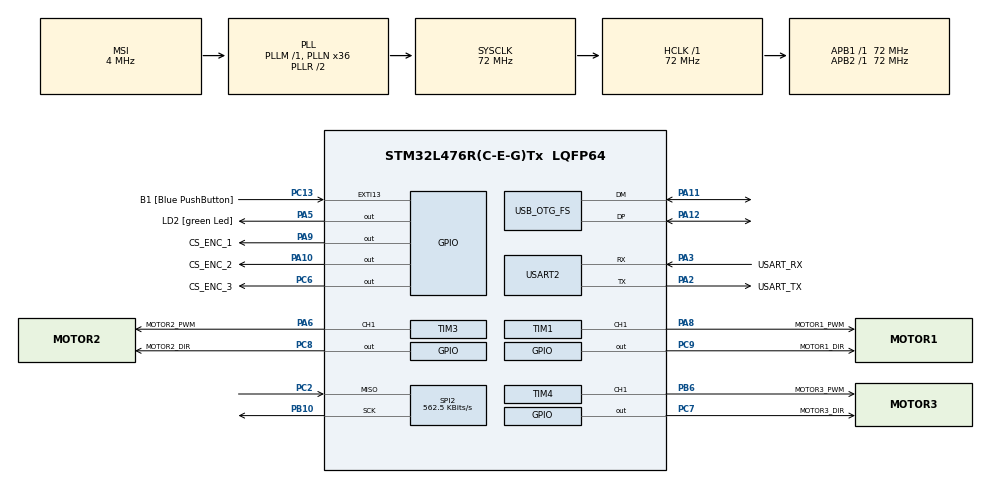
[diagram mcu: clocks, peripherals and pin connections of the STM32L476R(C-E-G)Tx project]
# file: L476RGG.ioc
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Mcu.Family=STM32L4
Mcu.Name=STM32L476R(C-E-G)Tx
Mcu.Package=LQFP64
NVIC.OTG_FS_IRQn=true\:0\:0\:false\:false\:true\:false\:true\:true
NVIC.PriorityGroup=NVIC_PRIORITYGROUP_4
NVIC.SPI2_IRQn=true\:0\:0\:false\:false\:true\:true\:true\:true
NVIC.TIM1_BRK_TIM15_IRQn=true\:0\:0\:false\:false\:true\:true\:true\:true
NVIC.TIM1_CC_IRQn=true\:0\:0\:false\:false\:true\:true\:true\:true
NVIC.TIM1_TRG_COM_TIM17_IRQn=true\:0\:0\:false\:false\:true\:true\:true\:true
NVIC.TIM1_UP_TIM16_IRQn=true\:0\:0\:false\:false\:true\:true\:true\:true
NVIC.USART2_IRQn=true\:0\:0\:false\:false\:true\:true\:true\:true
PA10.GPIO_Label=CS_ENC_2
PA10.Signal=GPIO_Output
PA11.Mode=Device_Only
PA11.Signal=USB_OTG_FS_DM
PA12.Mode=Device_Only
PA12.Signal=USB_OTG_FS_DP
PA13\ (JTMS-SWDIO).GPIO_Label=TMS
PA13\ (JTMS-SWDIO).Mode=Serial_Wire
PA13\ (JTMS-SWDIO).Signal=SYS_JTMS-SWDIO
PA14\ (JTCK-SWCLK).GPIO_Label=TCK
PA14\ (JTCK-SWCLK).Mode=Serial_Wire
PA14\ (JTCK-SWCLK).Signal=SYS_JTCK-SWCLK
PA2.GPIO_Label=USART_TX
PA2.GPIO_Mode=GPIO_MODE_AF_PP
PA2.GPIO_PuPd=GPIO_NOPULL
PA2.GPIO_Speed=GPIO_SPEED_FREQ_VERY_HIGH
PA2.Mode=Asynchronous
PA2.Signal=USART2_TX
PA3.GPIO_Label=USART_RX
PA3.GPIO_Mode=GPIO_MODE_AF_PP
PA3.GPIO_PuPd=GPIO_NOPULL
PA3.GPIO_Speed=GPIO_SPEED_FREQ_VERY_HIGH
PA3.Mode=Asynchronous
PA3.Signal=USART2_RX
PA5.GPIO_Label=LD2 [green Led]
PA5.GPIO_ModeDefaultOutputPP=GPIO_MODE_OUTPUT_PP
PA5.GPIO_PuPd=GPIO_NOPULL
PA5.GPIO_Speed=GPIO_SPEED_FREQ_LOW
PA5.Signal=GPIO_Output
PA6.GPIO_Label=MOTOR2_PWM
PA6.Signal=S_TIM3_CH1
PA8.GPIO_Label=MOTOR1_PWM
PA8.Signal=S_TIM1_CH1
PA9.GPIO_Label=CS_ENC_1
PA9.Signal=GPIO_Output
PB10.Mode=RX_Only_Simplex_Unidirect_Master
PB10.Signal=SPI2_SCK
PB3\ (JTDO-TRACESWO).GPIO_Label=SWO
PB3\ (JTDO-TRACESWO).Signal=SYS_JTDO-SWO
PB6.GPIO_Label=MOTOR3_PWM
PB6.Signal=S_TIM4_CH1
PC13.GPIO_Label=B1 [Blue PushButton]
PC13.GPIO_ModeDefaultEXTI=GPIO_MODE_IT_FALLING
PC13.GPIO_PuPd=GPIO_NOPULL
PC13.Signal=GPXTI13
PC14-OSC32_IN\ (PC14).Signal=RCC_OSC32_IN
PC15-OSC32_OUT\ (PC15).Signal=RCC_OSC32_OUT
PC2.Mode=RX_Only_Simplex_Unidirect_Master
PC2.Signal=SPI2_MISO
PC6.GPIO_Label=CS_ENC_3
PC6.Signal=GPIO_Output
PC7.GPIO_Label=MOTOR3_DIR
PC7.Signal=GPIO_Output
PC8.GPIO_Label=MOTOR2_DIR
PC8.Signal=GPIO_Output
PC9.GPIO_Label=MOTOR1_DIR
PC9.Signal=GPIO_Output
PH0-OSC_IN\ (PH0).Signal=RCC_OSC_IN
PH1-OSC_OUT\ (PH1).Signal=RCC_OSC_OUT
ProjectManager.HeapSize=0x200
ProjectManager.StackSize=0x400
ProjectManager.TargetToolchain=STM32CubeIDE
RCC.ADCFreq_Value=48000000
RCC.AHBFreq_Value=72000000
RCC.APB1Freq_Value=72000000
RCC.APB1TimFreq_Value=72000000
RCC.APB2Freq_Value=72000000
RCC.APB2TimFreq_Value=72000000
RCC.CortexFreq_Value=72000000
RCC.HCLKFreq_Value=72000000
RCC.HSE_VALUE=8000000
RCC.HSI_VALUE=16000000
RCC.MSI_VALUE=4000000
RCC.PLLN=36
RCC.PLLSAI1N=24
RCC.PREFETCH_ENABLE=1
RCC.SYSCLKFreq_VALUE=72000000
RCC.SYSCLKSource=RCC_SYSCLKSOURCE_PLLCLK
RCC.USBFreq_Value=48000000
RCC.VCOOutputFreq_Value=144000000
SH.S_TIM1_CH1.0=TIM1_CH1,PWM Generation1 CH1
SH.S_TIM3_CH1.0=TIM3_CH1,PWM Generation1 CH1
SH.S_TIM4_CH1.0=TIM4_CH1,PWM Generation1 CH1
SPI2.BaudRatePrescaler=SPI_BAUDRATEPRESCALER_128
SPI2.CLKPolarity=SPI_POLARITY_HIGH
SPI2.CalculateBaudRate=562.5 KBits/s
SPI2.DataSize=SPI_DATASIZE_8BIT
SPI2.Direction=SPI_DIRECTION_2LINES_RXONLY
SPI2.Mode=SPI_MODE_MASTER
SPI2.VirtualType=VM_MASTER
TIM1.AutoReloadPreload=TIM_AUTORELOAD_PRELOAD_ENABLE
TIM1.Channel-PWM\ Generation1\ CH1=TIM_CHANNEL_1
TIM1.Period=999
TIM1.Prescaler=71
TIM3.Channel-PWM\ Generation1\ CH1=TIM_CHANNEL_1
TIM3.Period=999
TIM3.Prescaler=71
TIM4.Channel-PWM\ Generation1\ CH1=TIM_CHANNEL_1
TIM4.Period=999
TIM4.Prescaler=77
USART2.VirtualMode-Asynchronous=VM_ASYNC
USB_DEVICE.CLASS_NAME_FS=CDC
USB_DEVICE.VirtualMode=Cdc
USB_DEVICE.VirtualModeFS=Cdc_FS
USB_OTG_FS.VirtualMode=Device_Only
VP_USB_DEVICE_VS_USB_DEVICE_CDC_FS.Mode=CDC_FS
board=NUCLEO-L476RG

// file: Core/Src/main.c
/* USER CODE BEGIN Header */
/**
  ******************************************************************************
  * @file           : main.c
  * @brief          : Main program body
  ******************************************************************************
  * @attention
  *
  * Copyright (c) 2024 STMicroelectronics.
  * All rights reserved.
  *
  * This software is licensed under terms that can be found in the LICENSE file
  * in the root directory of this software component.
  * If no LICENSE file comes with this software, it is provided AS-IS.
  *
  ******************************************************************************
  */
/* USER CODE END Header */
#include "main.h"
#include "spi.h"
#include "tim.h"
#include "usart.h"
#include "usb_device.h"
#include "gpio.h"

/* USER CODE BEGIN Includes */
#include "motor.h"
#include "cmd_vel.h"
#include <stdbool.h>
/* USER CODE END Includes */

/* USER CODE BEGIN PTD */
CmdVel cmd_vel_data;
uint8_t rx_data;

/* USER CODE END PTD */

void SystemClock_Config(void);

int main(void)
{

  /* MCU Configuration--------------------------------------------------------*/

  /* Reset of all peripherals, Initializes the Flash interface and the Systick. */
  HAL_Init();

  /* Configure the system clock */
  SystemClock_Config();

  /* Initialize all configured peripherals */
  MX_GPIO_Init();
  MX_TIM1_Init();
  MX_USART2_UART_Init();
  MX_USB_DEVICE_Init();
  MX_TIM3_Init();
  MX_TIM4_Init();
  MX_SPI2_Init();
  /* USER CODE BEGIN 2 */
  HAL_UART_Receive_IT(&huart2, &rx_data, 1);

  timer_init();
  SPI_init();
  /* USER CODE END 2 */

  /* Infinite loop */
  while (1)
  {

    /* USER CODE BEGIN 3 */

	float linear_x = cmd_vel_data.linear_x;
	float linear_y = cmd_vel_data.linear_y;
	float linear_z = cmd_vel_data.linear_z;

	float angular_x = cmd_vel_data.angular_x;
	float angular_y = cmd_vel_data.angular_y;
	float angular_z = cmd_vel_data.angular_z;

	calculate_motor_duty_cycles(linear_x, linear_y, angular_z, &motor1, &motor2, &motor3);

	HAL_Delay(10); // Small delay for control loop timing
	//HAL_Delay(2000);
	//motor.duty_cycle = -20.0;
	//motor_update(&motor);
	  HAL_Delay(2000);
	}
  /* USER CODE END 3 */
}

void SystemClock_Config(void)
{
  RCC_OscInitTypeDef RCC_OscInitStruct = {0};
  RCC_ClkInitTypeDef RCC_ClkInitStruct = {0};

  /** Configure the main internal regulator output voltage
  */
  if (HAL_PWREx_ControlVoltageScaling(PWR_REGULATOR_VOLTAGE_SCALE1) != HAL_OK)
  {
    Error_Handler();
  }

  /** Initializes the RCC Oscillators according to the specified parameters
  * in the RCC_OscInitTypeDef structure.
  */
  RCC_OscInitStruct.OscillatorType = RCC_OSCILLATORTYPE_MSI;
  RCC_OscInitStruct.MSIState = RCC_MSI_ON;
  RCC_OscInitStruct.MSICalibrationValue = 0;
  RCC_OscInitStruct.MSIClockRange = RCC_MSIRANGE_6;
  RCC_OscInitStruct.PLL.PLLState = RCC_PLL_ON;
  RCC_OscInitStruct.PLL.PLLSource = RCC_PLLSOURCE_MSI;
  RCC_OscInitStruct.PLL.PLLM = 1;
  RCC_OscInitStruct.PLL.PLLN = 36;
  RCC_OscInitStruct.PLL.PLLP = RCC_PLLP_DIV7;
  RCC_OscInitStruct.PLL.PLLQ = RCC_PLLQ_DIV2;
  RCC_OscInitStruct.PLL.PLLR = RCC_PLLR_DIV2;
  if (HAL_RCC_OscConfig(&RCC_OscInitStruct) != HAL_OK)
  {
    Error_Handler();
  }

  /** Initializes the CPU, AHB and APB buses clocks
  */
  RCC_ClkInitStruct.ClockType = RCC_CLOCKTYPE_HCLK|RCC_CLOCKTYPE_SYSCLK
                              |RCC_CLOCKTYPE_PCLK1|RCC_CLOCKTYPE_PCLK2;
  RCC_ClkInitStruct.SYSCLKSource = RCC_SYSCLKSOURCE_PLLCLK;
  RCC_ClkInitStruct.AHBCLKDivider = RCC_SYSCLK_DIV1;
  RCC_ClkInitStruct.APB1CLKDivider = RCC_HCLK_DIV1;
  RCC_ClkInitStruct.APB2CLKDivider = RCC_HCLK_DIV1;

  if (HAL_RCC_ClockConfig(&RCC_ClkInitStruct, FLASH_LATENCY_4) != HAL_OK)
  {
    Error_Handler();
  }
}

/* USER CODE BEGIN 4 */
void HAL_UART_RxCpltCallback(UART_HandleTypeDef *huart) {
    if (huart->Instance == USART2) {
        USART_Receive_CmdVel(huart, &cmd_vel_data);
        HAL_UART_Receive_IT(huart, &rx_data, 1);
        HAL_GPIO_TogglePin(GPIOA, GPIO_PIN_5);

    }
}

/* USER CODE END 4 */

void Error_Handler(void)
{
  __disable_irq();
  while (1)
  {
  }
}
